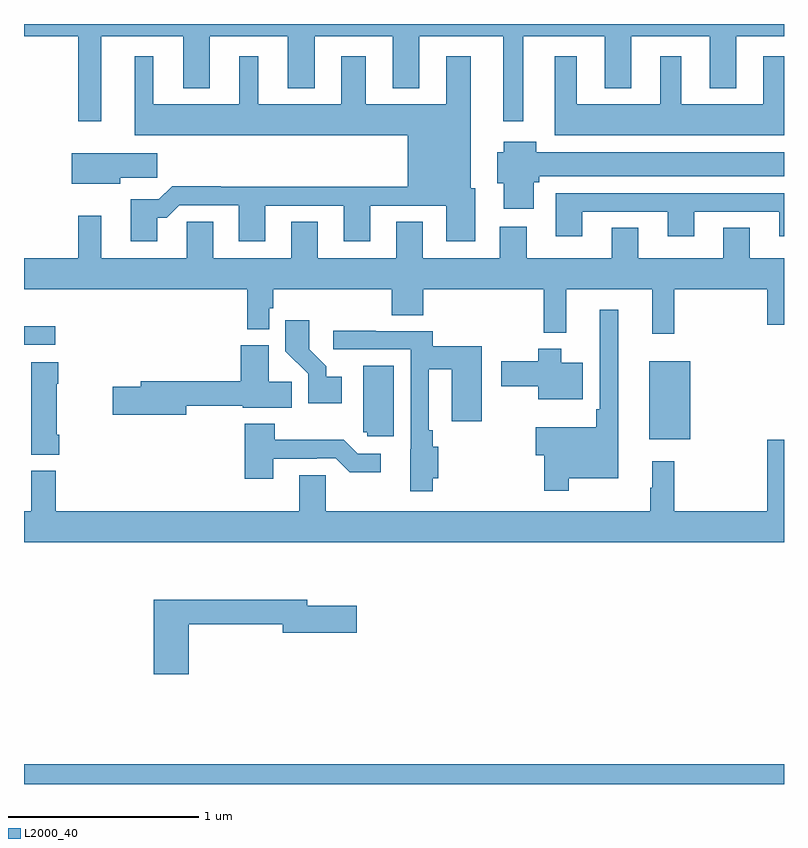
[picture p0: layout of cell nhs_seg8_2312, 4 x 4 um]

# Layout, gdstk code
import gdstk
lib = gdstk.Library(unit=1e-6, precision=1e-09)
def R(c, l, rs):  # rectangles x0, y0, x1, y1
    for r in rs: c.add(gdstk.rectangle(r[:2], r[2:], *l))
def P(c, l, *ps):  # polygons
    for p in ps: c.add(gdstk.Polygon(p, *l))
L2000_40 = (2000, 40)

nhs_seg8_2312 = lib.new_cell('nhs_seg8_2312')
R(nhs_seg8_2312, L2000_40, [(257,1109.9,261,1110.004), (260.291,1111.715,260.506,1112.125), (257,1112.211,257.164,1112.309)])
P(nhs_seg8_2312, L2000_40, [(257,1113.836),(257.286,1113.836),(257.286,1113.387),(257.407,1113.387),(257.407,1113.836),(257.837,1113.836),(257.837,1113.563),(257.977,1113.563),(257.977,1113.836),(258.389,1113.836),(258.389,1113.563),(258.529,1113.563),(258.529,1113.836),(258.941,1113.836),(258.941,1113.563),(259.081,1113.563),(259.081,1113.836),(259.523,1113.836),(259.523,1113.387),(259.627,1113.387),(259.627,1113.836),(260.057,1113.836),(260.057,1113.563),(260.197,1113.563),(260.197,1113.836),(260.609,1113.836),(260.609,1113.563),(260.749,1113.563),(260.749,1113.836),(261,1113.836),(261,1113.9),(257,1113.9)],
  [(261,1113.73),(260.891,1113.73),(260.891,1113.478),(260.458,1113.478),(260.458,1113.73),(260.348,1113.73),(260.348,1113.478),(259.909,1113.478),(259.909,1113.73),(259.793,1113.73),(259.793,1113.314),(261,1113.314)],
  [(257.701,1112.879),(257.75,1112.879),(257.817,1112.946),(258.131,1112.946),(258.131,1112.757),(258.271,1112.757),(258.271,1112.943),(258.683,1112.943),(258.683,1112.757),(258.823,1112.757),(258.823,1112.943),(259.223,1112.943),(259.223,1112.757),(259.375,1112.757),(259.375,1113.036),(259.351,1113.036),(259.351,1113.73),(259.223,1113.73),(259.223,1113.478),(258.799,1113.478),(258.799,1113.73),(258.671,1113.73),(258.671,1113.478),(258.232,1113.478),(258.232,1113.73),(258.134,1113.73),(258.134,1113.478),(257.68,1113.478),(257.68,1113.73),(257.582,1113.73),(257.582,1113.314),(259.019,1113.314),(259.019,1113.044),(258.035,1113.044),(258.035,1113.047),(257.779,1113.047),(257.71,1112.977),(257.561,1112.977),(257.561,1112.757),(257.701,1112.757)],
  [(259.684,1113.066),(259.711,1113.066),(259.711,1113.098),(261,1113.098),(261,1113.226),(259.697,1113.226),(259.697,1113.28),(259.526,1113.28),(259.526,1113.226),(259.49,1113.226),(259.49,1113.062),(259.526,1113.062),(259.526,1112.928),(259.684,1112.928)],
  [(257.506,1113.091),(257.701,1113.091),(257.701,1113.22),(257.252,1113.22),(257.252,1113.059),(257.506,1113.059)],
  [(259.939,1112.913),(260.387,1112.913),(260.387,1112.784),(260.527,1112.784),(260.527,1112.913),(260.975,1112.913),(260.975,1112.784),(261,1112.784),(261,1113.009),(259.799,1113.009),(259.799,1112.784),(259.939,1112.784)],
  [(260.423,1112.504),(260.912,1112.504),(260.912,1112.316),(261,1112.316),(261,1112.668),(260.821,1112.668),(260.821,1112.828),(260.681,1112.828),(260.681,1112.668),(260.233,1112.668),(260.233,1112.828),(260.093,1112.828),(260.093,1112.668),(259.645,1112.668),(259.645,1112.833),(259.505,1112.833),(259.505,1112.668),(259.099,1112.668),(259.099,1112.858),(258.959,1112.858),(258.959,1112.668),(258.547,1112.668),(258.547,1112.858),(258.407,1112.858),(258.407,1112.668),(257.995,1112.668),(257.995,1112.858),(257.856,1112.858),(257.856,1112.668),(257.407,1112.668),(257.407,1112.89),(257.286,1112.89),(257.286,1112.668),(257,1112.668),(257,1112.504),(258.175,1112.504),(258.175,1112.294),(258.291,1112.294),(258.291,1112.403),(258.311,1112.403),(258.311,1112.504),(258.935,1112.504),(258.935,1112.368),(259.1,1112.368),(259.1,1112.504),(259.735,1112.504),(259.735,1112.276),(259.853,1112.276),(259.853,1112.504),(260.306,1112.504),(260.306,1112.271),(260.423,1112.271)],
  [(259.867,1111.508),(260.128,1111.508),(260.128,1112.395),(260.031,1112.395),(260.031,1111.873),(260.011,1111.873),(260.011,1111.777),(259.694,1111.777),(259.694,1111.63),(259.738,1111.63),(259.738,1111.443),(259.867,1111.443)],
  [(258.673,1112.044),(258.592,1112.044),(258.592,1112.099),(258.502,1112.189),(258.502,1112.341),(258.376,1112.341),(258.376,1112.178),(258.495,1112.059),(258.495,1111.904),(258.673,1111.904)],
  [(259.151,1111.508),(259.181,1111.508),(259.181,1111.674),(259.151,1111.674),(259.151,1111.762),(259.131,1111.762),(259.131,1112.082),(259.25,1112.082),(259.25,1111.809),(259.408,1111.809),(259.408,1112.203),(259.151,1112.203),(259.151,1112.283),(258.851,1112.283),(258.851,1112.286),(258.627,1112.286),(258.627,1112.187),(259.035,1112.187),(259.035,1111.662),(259.034,1111.662),(259.034,1111.44),(259.151,1111.44)],
  [(257.854,1111.891),(258.152,1111.891),(258.152,1111.88),(258.41,1111.88),(258.41,1112.018),(258.289,1112.018),(258.289,1112.209),(258.14,1112.209),(258.14,1112.02),(257.615,1112.02),(257.615,1111.991),(257.466,1111.991),(257.466,1111.844),(257.854,1111.844)],
  [(259.942,1112.116),(259.828,1112.116),(259.828,1112.191),(259.706,1112.191),(259.706,1112.124),(259.512,1112.124),(259.512,1111.994),(259.706,1111.994),(259.706,1111.925),(259.942,1111.925)],
  [(257.186,1111.738),(257.173,1111.738),(257.173,1112.006),(257.181,1112.006),(257.181,1112.119),(257.039,1112.119),(257.039,1111.633),(257.186,1111.633)],
  [(258.946,1112.101),(258.785,1112.101),(258.785,1111.752),(258.807,1111.752),(258.807,1111.731),(258.946,1111.731)],
  [(258.313,1111.611),(258.542,1111.611),(258.542,1111.614),(258.642,1111.614),(258.715,1111.541),(258.877,1111.541),(258.877,1111.638),(258.756,1111.638),(258.683,1111.711),(258.321,1111.711),(258.321,1111.795),(258.161,1111.795),(258.161,1111.506),(258.313,1111.506)],
  [(261,1111.711),(260.912,1111.711),(260.912,1111.336),(260.423,1111.336),(260.423,1111.6),(260.306,1111.6),(260.306,1111.46),(260.295,1111.46),(260.295,1111.336),(258.588,1111.336),(258.588,1111.526),(258.449,1111.526),(258.449,1111.336),(257.168,1111.336),(257.168,1111.548),(257.039,1111.548),(257.039,1111.336),(257,1111.336),(257,1111.172),(261,1111.172)],
  [(257.867,1110.742),(258.362,1110.742),(258.362,1110.695),(258.751,1110.695),(258.751,1110.837),(258.49,1110.837),(258.49,1110.871),(257.684,1110.871),(257.684,1110.477),(257.867,1110.477)])

lib.write_gds('nhs_seg8_2312.gds')
